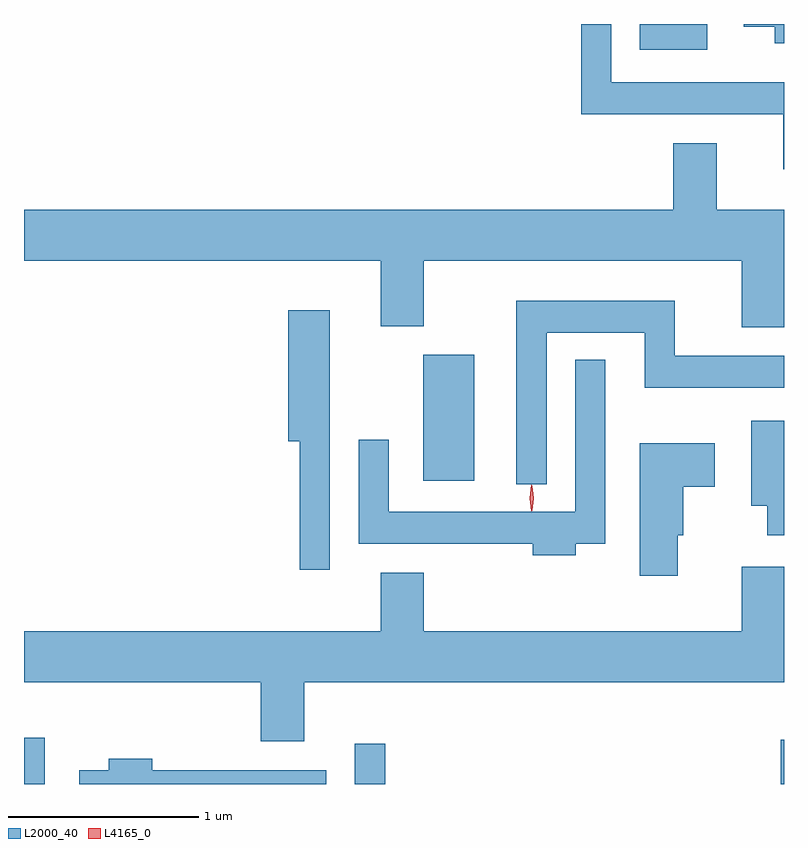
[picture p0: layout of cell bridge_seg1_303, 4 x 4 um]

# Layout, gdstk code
import gdstk
lib = gdstk.Library(unit=1e-6, precision=1e-09)
def R(c, l, rs):  # rectangles x0, y0, x1, y1
    for r in rs: c.add(gdstk.rectangle(r[:2], r[2:], *l))
def P(c, l, *ps):  # polygons
    for p in ps: c.add(gdstk.Polygon(p, *l))
L2000_40 = (2000, 40)
L4165_0 = (4165, 0)

bridge_seg1_303 = lib.new_cell('bridge_seg1_303')
R(bridge_seg1_303, L2000_40, [(840.314,876.841,840.424,877.084), (842.056,876.841,842.214,877.053), (844.296,876.841,844.314,877.074), (842.416,878.436,842.684,879.099), (843.556,880.706,843.909,880.841)])
P(bridge_seg1_303, L2000_40, [(844.314,880.841),(844.101,880.841),(844.101,880.826),(844.266,880.826),(844.266,880.741),(844.314,880.741)],
  [(844.314,880.534),(843.404,880.534),(843.404,880.841),(843.246,880.841),(843.246,880.366),(844.311,880.366),(844.311,880.076),(844.314,880.076)],
  [(844.314,879.864),(843.959,879.864),(843.959,880.214),(843.731,880.214),(843.731,879.864),(840.314,879.864),(840.314,879.596),(842.191,879.596),(842.191,879.251),(842.419,879.251),(842.419,879.596),(844.091,879.596),(844.091,879.246),(844.314,879.246)],
  [(843.064,879.216),(843.581,879.216),(843.581,878.926),(844.314,878.926),(844.314,879.094),(843.739,879.094),(843.739,879.384),(842.906,879.384),(842.906,878.418),(843.064,878.418)],
  [(841.924,879.334),(841.706,879.334),(841.706,878.646),(841.766,878.646),(841.766,877.968),(841.924,877.968)],
  [(843.219,878.106),(843.374,878.106),(843.374,879.073),(843.216,879.073),(843.216,878.274),(842.234,878.274),(842.234,878.653),(842.076,878.653),(842.076,878.106),(842.991,878.106),(842.991,878.046),(843.219,878.046)],
  [(844.314,878.754),(844.141,878.754),(844.141,878.306),(844.226,878.306),(844.226,878.151),(844.314,878.151)],
  [(843.754,878.151),(843.784,878.151),(843.784,878.406),(843.949,878.406),(843.949,878.634),(843.556,878.634),(843.556,877.936),(843.754,877.936)],
  [(841.789,877.376),(844.314,877.376),(844.314,877.984),(844.091,877.984),(844.091,877.644),(842.419,877.644),(842.419,877.954),(842.191,877.954),(842.191,877.644),(840.314,877.644),(840.314,877.376),(841.561,877.376),(841.561,877.066),(841.789,877.066)],
  [(841.904,876.914),(840.989,876.914),(840.989,876.974),(840.761,876.974),(840.761,876.914),(840.606,876.914),(840.606,876.841),(841.904,876.841)])
P(bridge_seg1_303, L4165_0, [(842.984,878.277),(842.975,878.346),(842.984,878.416),(842.985,878.416),(842.985,878.416),(842.995,878.346),(842.985,878.277),(842.985,878.277)],
  [(842.987,878.279),(842.987,878.28),(842.977,878.346),(842.987,878.412),(842.987,878.413),(842.988,878.412),(842.997,878.346),(842.988,878.28)])

lib.write_gds('bridge_seg1_303.gds')
